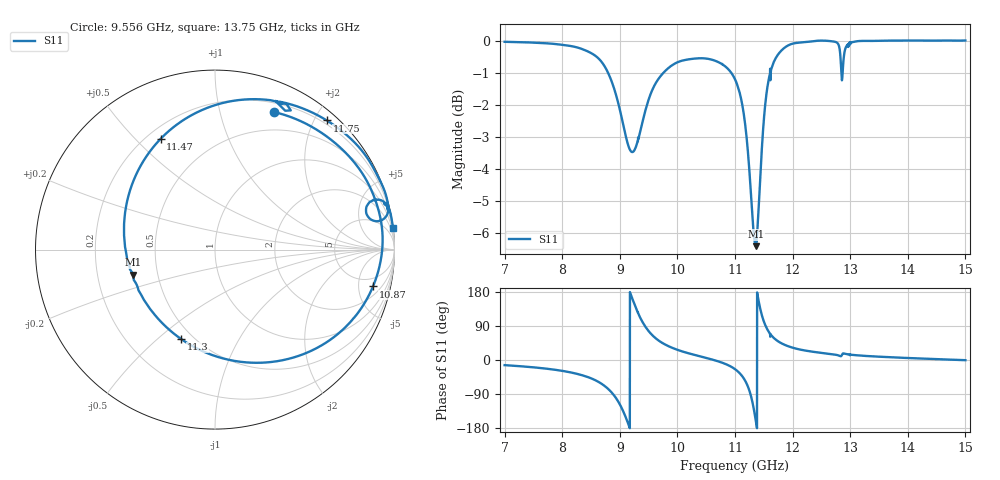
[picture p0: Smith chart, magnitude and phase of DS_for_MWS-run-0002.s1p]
! TOUCHSTONE file generated by CST DESIGN STUDIO
! Date and time: Mon Feb 10 16:53:58 2025
! Project name: C:\Work\MatlabApps\UnitCellType2OptimizationMatlab\CST\unitcell.cst
! Tree item: Tasks\Sweep1\SPara1\S-Parameters
! Header version: 2024
! Port assignment regex: !\s*Touchstone port\s*([0-9]+)\s*=\s*(CST MWS port|CST DES external port|CST DES block port)\s*(.+)\s* \(\"(.*)\"\)(\s*mode\s*([0-9]+))?.*
! Touchstone port assignment:
! Touchstone port 1 = CST DES external port 1 ("")
# GHz S MA R 50
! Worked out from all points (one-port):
!   4001 points, 7 GHz to 15 GHz, reference 50 ohm
!   lowest |S11| = -6.4 dB at 11.36 GHz (marker M1), VSWR 2.83, Z = 18 - j6.55 ohm
!   |S11| at or under -10 dB: nowhere
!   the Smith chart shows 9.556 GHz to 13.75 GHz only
!   S11 on the Smith chart (normalised r, x): 9.556 GHz: 0.29, +1.48; 10.87 GHz: 3.24, -7.27; 11.3 GHz: 0.43, -0.60; 11.47 GHz: 0.25, +0.59; 11.75 GHz: 0.14, +2.18; 13.75 GHz: 0, +17
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7  0.9954 -13.6
8  0.9846 -28.6
8.61  0.9413 -56.1
8.85  0.8675 -84.3
9  0.7807 -116.9
9.114  0.7033 -155.4
9.208  0.6703 165.8
9.368  0.7301 107.6
9.556  0.8342 66.7
9.744  0.8879 44.5
10  0.9248 26.9
10.466  0.938 6.9
10.874  0.9039 -13.1
11  0.8701 -24.1
11.158  0.762 -49.9
11.24  0.6441 -76.4
11.302  0.5328 -110.7
11.364  0.478 -162.9
11.414  0.5546 152.7
11.47  0.6872 116.2
11.568  0.852 78.9
11.75  0.9517 49.1
12  0.9887 32.5
12.814  0.9728 11.1
13  0.9915 14.1
13.752  0.9997 6.9
14  0.9996 5.3
15  1 -0.5
